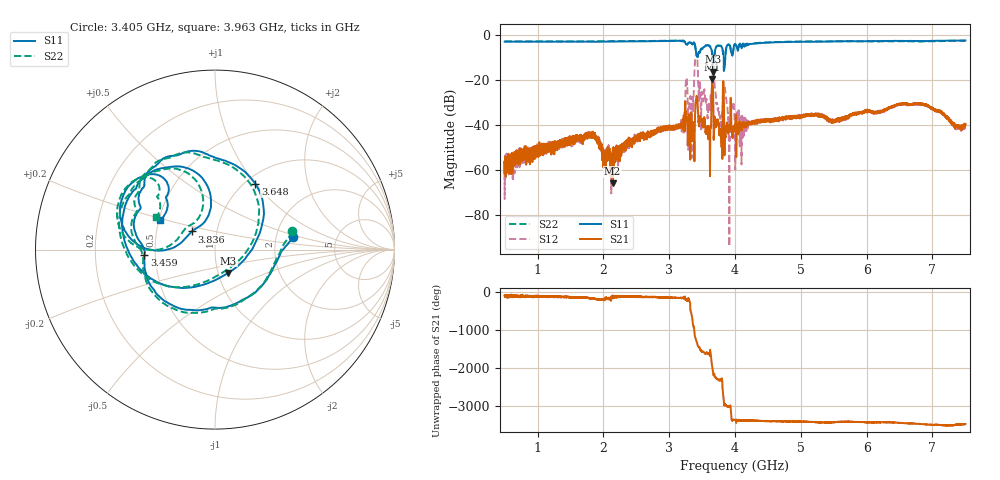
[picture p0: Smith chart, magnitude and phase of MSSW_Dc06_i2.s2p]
!Keysight Technologies,M9374A,MY55442783,A.12.55.05
!Date: Thursday, May 20, 2021 13:02:53
!Correction: S11(Full 2 Port(1,2))
!S21(Full 2 Port(1,2))
!S12(Full 2 Port(1,2))
!S22(Full 2 Port(1,2))
!S2P File: Measurements: S11, S21, S12, S22:
# Hz S  RI  R 50
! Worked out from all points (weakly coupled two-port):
!   7001 points, 500 MHz to 7.5 GHz, reference 50 ohm
!   highest |S21| = -19.80 dB at 3.656 GHz (marker M1); lowest = -65.8 dB at 2.14 GHz (marker M2)
!   lowest |S11| = -16.5 dB at 3.671 GHz (marker M3), VSWR 1.35, Z = 55.8 - j14.9 ohm
!   |S11| at or under -10 dB: 3.656 GHz to 3.685 GHz (29.22 MHz wide, 0.796 % of centre); 3.821 GHz to 3.852 GHz (30.9 MHz wide, 0.805 % of centre)
!   |S22| runs from -17.7 to -2.6 dB; largest |S21 - S12| = 0.34
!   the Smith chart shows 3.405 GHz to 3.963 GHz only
!   S11 on the Smith chart (normalised r, x): 3.405 GHz: 2.48, +0.45; 3.459 GHz: 0.43, -0.03; 3.648 GHz: 1.11, +1.00; 3.836 GHz: 0.76, +0.16; 3.963 GHz: 0.51, +0.19
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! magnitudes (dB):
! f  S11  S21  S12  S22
! 500 MHz  -3.2  -60.8  -56.3  -3.0
! 1.667 GHz  -3.1  -47.1  -45.5  -3.0
! 1.864 GHz  -3.2  -44.4  -45.8  -3.0
! 2.14 GHz  -3.1  -65.8  -57.2  -3.0
! 2.834 GHz  -2.9  -42.0  -42.8  -2.8
! 3.187 GHz  -2.8  -40.3  -38.2  -2.7
! 3.278 GHz  -4.3  -41.6  -24.9  -4.2
! 3.319 GHz  -3.5  -55.3  -27.6  -3.5
! 3.405 GHz  -7.1  -29.6  -9.1  -7.1
! 3.459 GHz  -8.1  -37.6  -22.5  -7.9
! 3.589 GHz  -4.8  -41.3  -34.9  -4.7
! 3.648 GHz  -7.3  -23.1  -25.8  -7.4
! 3.656 GHz  -9.9  -19.8  -19.3  -10.1
! 3.671 GHz  -16.5  -31.4  -14.9  -17.7
! 3.768 GHz  -5.0  -42.2  -36.6  -4.8
! 3.836 GHz  -15.7  -41.8  -23.9  -13.9
! 3.908 GHz  -4.6  -41.5  -49.3  -4.4
! 3.963 GHz  -9.2  -44.8  -32.3  -8.6
! 4 GHz  -4.3  -40.2  -45.4  -4.2
! 5.167 GHz  -3.2  -35.9  -35.5  -3.1
! 6.334 GHz  -2.8  -32.5  -32.5  -3.0
! 7.5 GHz  -2.6  -39.6  -40.2  -2.8
